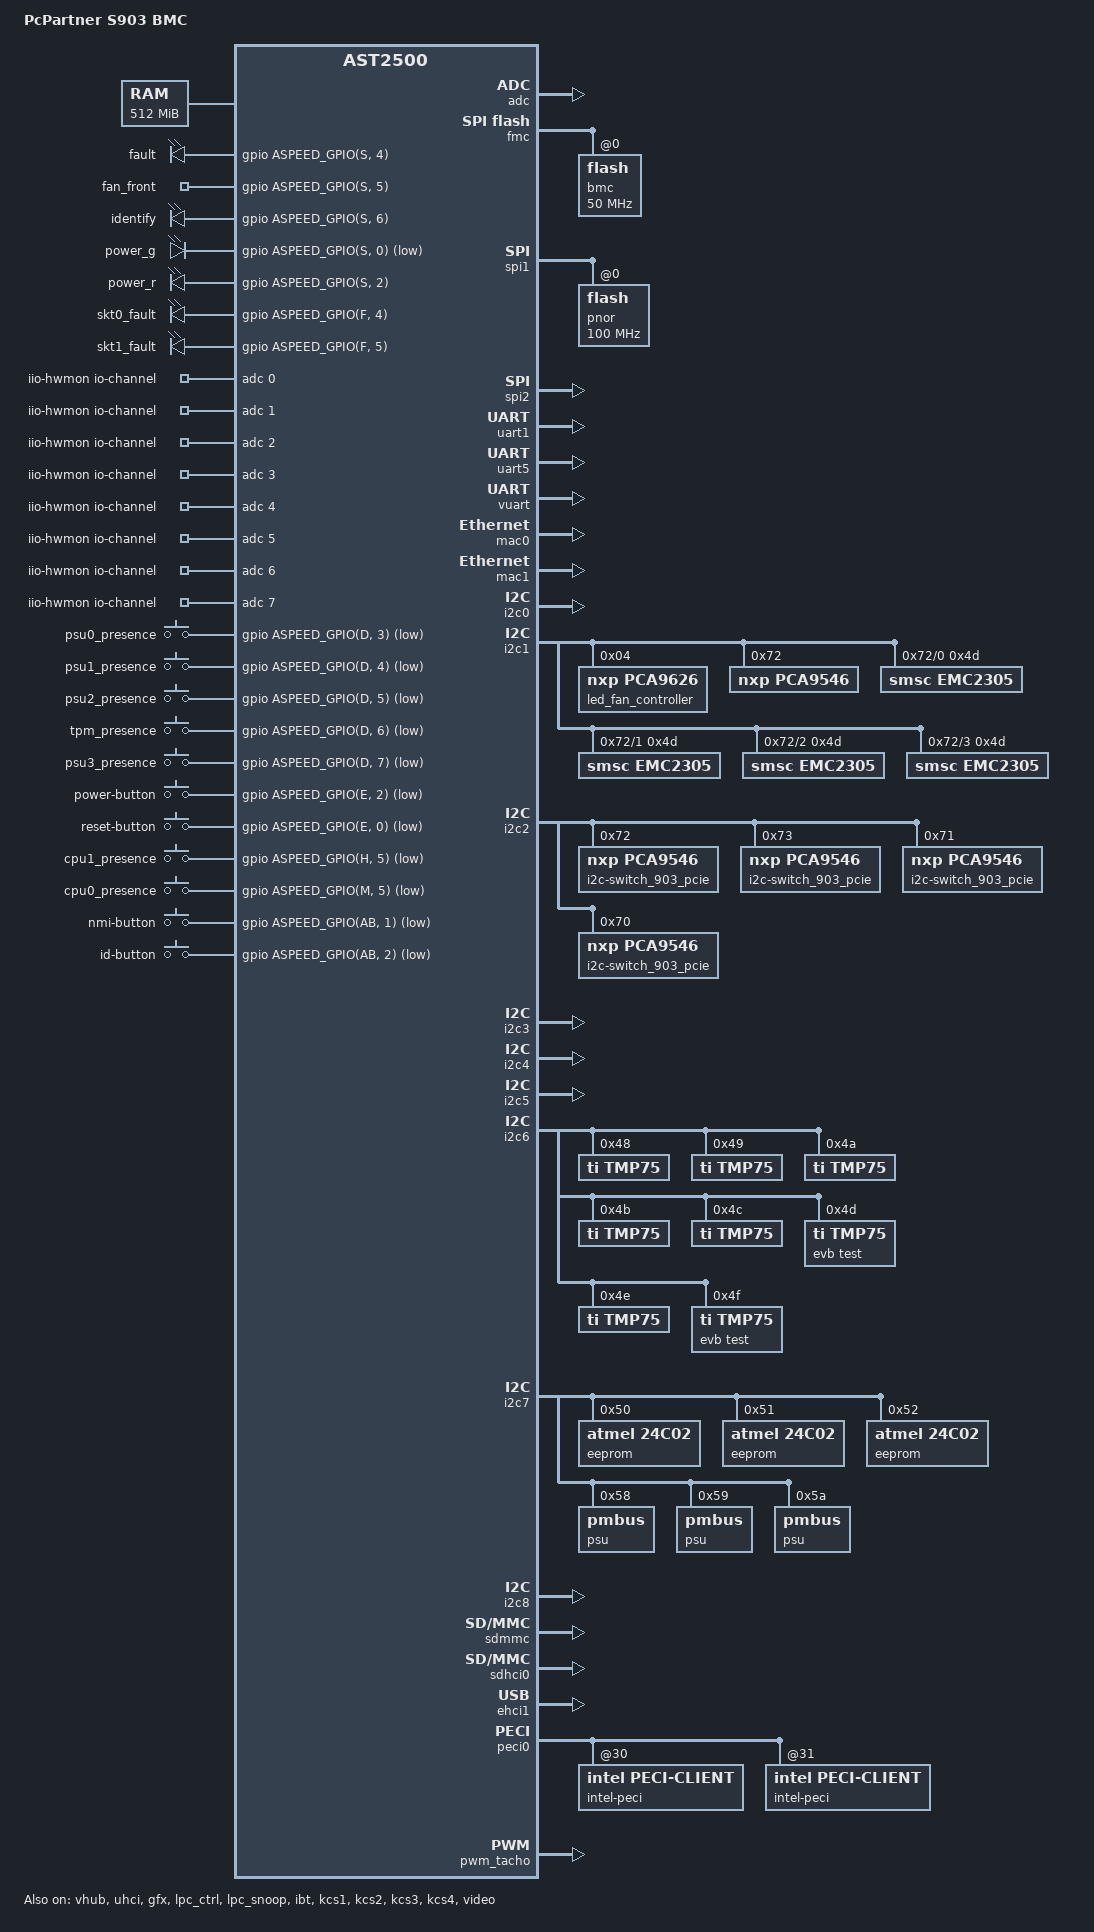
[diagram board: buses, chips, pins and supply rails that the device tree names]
// SPDX-License-Identifier: GPL-2.0+
/dts-v1/;

#include "aspeed-g5.dtsi"
#include <dt-bindings/gpio/aspeed-gpio.h>

/ {
	model = "PcPartner S903 BMC";
	compatible = "aspeed,ast2500";

	aliases {
		serial4 = &uart5;
		i2c100 = &bus1_mux0;
	};

	chosen {
		stdout-path = &uart5;
		bootargs = "console=tty0 console=ttyS4,115200 earlyprintk";
	};

	memory@80000000 {
		reg = <0x80000000 0x20000000>;
	};

	reserved-memory {
		#address-cells = <1>;
		#size-cells = <1>;
		ranges;

		gfx_memory: framebuffer {
			size = <0x01000000>;
			alignment = <0x01000000>;
			compatible = "shared-dma-pool";
			reusable;
		};

		video_engine_memory: jpegbuffer {
			size = <0x02000000>;	/* 32M */
			alignment = <0x01000000>;
			compatible = "shared-dma-pool";
			reusable;
		};
	};

	leds {
		compatible = "gpio-leds";

		fault {
			gpios = <&gpio ASPEED_GPIO(S, 4) GPIO_ACTIVE_HIGH>;
		};

		fan_front {
			gpios = <&gpio ASPEED_GPIO(S, 5) GPIO_ACTIVE_HIGH>;
		};

		identify {
			gpios = <&gpio ASPEED_GPIO(S, 6) GPIO_ACTIVE_HIGH>;
		};

		power_g {
			gpios = <&gpio ASPEED_GPIO(S, 0) GPIO_ACTIVE_LOW>;
		};

		power_r {
			gpios = <&gpio ASPEED_GPIO(S, 2) GPIO_ACTIVE_HIGH>;
		};

		skt0_fault {
			gpios = <&gpio ASPEED_GPIO(F, 4) GPIO_ACTIVE_HIGH>;
		};

		skt1_fault {
			gpios = <&gpio ASPEED_GPIO(F, 5) GPIO_ACTIVE_HIGH>;
		};
	};

	iio-hwmon {
		compatible = "iio-hwmon";
		io-channels = <&adc 0>, <&adc 1>, <&adc 2>, <&adc 3>, <&adc 4>,
			<&adc 5>, <&adc 6>, <&adc 7>, <&adc 8>, <&adc 9>,
			<&adc 10>, <&adc 11>, <&adc 12>, <&adc 13>, <&adc 14>, <&adc 15>;
	};

	gpio-keys {
		compatible = "gpio-keys";
		autorepeat;

		psu0_presence {
			label = "psu0_presence";
			gpios = <&gpio ASPEED_GPIO(D, 3) GPIO_ACTIVE_LOW>;
			linux,code = <ASPEED_GPIO(D, 3)>;
		};

		psu1_presence {
			label = "psu1_presence";
			gpios = <&gpio ASPEED_GPIO(D, 4) GPIO_ACTIVE_LOW>;
			linux,code = <ASPEED_GPIO(D, 4)>;
		};

		psu2_presence {
			label = "psu2_presence";
			gpios = <&gpio ASPEED_GPIO(D, 5) GPIO_ACTIVE_LOW>;
			linux,code = <ASPEED_GPIO(D, 5)>;
		};

		tpm_presence {
			label = "tpm_presence";
			gpios = <&gpio ASPEED_GPIO(D, 6) GPIO_ACTIVE_LOW>;
			linux,code = <ASPEED_GPIO(D, 6)>;
		};

		psu3_presence {
			label = "psu3_presence";
			gpios = <&gpio ASPEED_GPIO(D, 7) GPIO_ACTIVE_LOW>;
			linux,code = <ASPEED_GPIO(D, 7)>;
		};

		power-button {
			label = "power-button";
			gpios = <&gpio ASPEED_GPIO(E, 2) GPIO_ACTIVE_LOW>;
			linux,code = <ASPEED_GPIO(E, 2)>;
		};

		reset-button {
			label = "reset-button";
			gpios = <&gpio ASPEED_GPIO(E, 0) GPIO_ACTIVE_LOW>;
			linux,code = <ASPEED_GPIO(E, 0)>;
		};

		cpu1_presence {
			label = "cpu1_presence";
			gpios = <&gpio ASPEED_GPIO(H, 5) GPIO_ACTIVE_LOW>;
			linux,code = <ASPEED_GPIO(H, 5)>;
		};

		cpu0_presence {
			label = "cpu0_presence";
			gpios = <&gpio ASPEED_GPIO(M, 5) GPIO_ACTIVE_LOW>;
			linux,code = <ASPEED_GPIO(M, 5)>;
		};

		nmi-button {
			label = "nmi-button";
			gpios = <&gpio ASPEED_GPIO(AB, 1) GPIO_ACTIVE_LOW>;
			linux,code = <ASPEED_GPIO(AB, 1)>;
		};

		id-button {
			label = "id-button";
			gpios = <&gpio ASPEED_GPIO(AB, 2) GPIO_ACTIVE_LOW>;
			linux,code = <ASPEED_GPIO(AB, 2)>;
		};
	};
};

&adc {
	status = "okay";
};

&fmc {
	status = "okay";
	flash@0 {
		status = "okay";
		m25p,fast-read;
		label = "bmc";
		spi-max-frequency = <50000000>;
#include "openbmc-flash-layout.dtsi"
	};
};

&spi1 {
	status = "okay";
	flash@0 {
		status = "okay";
		m25p,fast-read;
		label = "pnor";
		spi-max-frequency = <100000000>;
	};
};

&spi2 {
	status = "okay";
};

&uart1 {
	/* Rear RS-232 connector */
	status = "okay";
	pinctrl-names = "default";
	pinctrl-0 = <&pinctrl_txd1_default
			&pinctrl_rxd1_default
			&pinctrl_nrts1_default
			&pinctrl_ndtr1_default
			&pinctrl_ndsr1_default
			&pinctrl_ncts1_default
			&pinctrl_ndcd1_default
			&pinctrl_nri1_default>;
};

&uart5 {
	status = "okay";
};

&vuart {
	status = "okay";
};

&mac0 {
	status = "okay";
	use-ncsi;
	pinctrl-names = "default";
	pinctrl-0 = <&pinctrl_rmii1_default>;
	clocks = <&syscon ASPEED_CLK_GATE_MAC1CLK>,
		 <&syscon ASPEED_CLK_MAC1RCLK>;
	clock-names = "MACCLK", "RCLK";
};

&mac1 {
	status = "okay";

	pinctrl-names = "default";
	pinctrl-0 = <&pinctrl_rgmii2_default &pinctrl_mdio2_default>;
};

&i2c0 {
	status = "okay";
};

&i2c1 {
	status = "okay";
/*
	emc2305@2c {
		compatible = "smsc,emc2305";
		reg = <0x2c>;
		#address-cells = <1>;
		#size-cells = <0>;
	};
	emc2305@2d {
		compatible = "smsc,emc2305";
		reg = <0x2d>;
		#address-cells = <1>;
		#size-cells = <0>;
	};
	emc2305@2e {
		compatible = "smsc,emc2305";
		reg = <0x2e>;
		#address-cells = <1>;
		#size-cells = <0>;
	};
	emc2305@2f {
		compatible = "smsc,emc2305";
		reg = <0x2f>;
		#address-cells = <1>;
		#size-cells = <0>;
	};
	emc2305@4c {
		compatible = "smsc,emc2305";
		reg = <0x4c>;
		#address-cells = <1>;
		#size-cells = <0>;
	};
	emc2305@4d {
		compatible = "smsc,emc2305";
		reg = <0x4d>;
		#address-cells = <1>;
		#size-cells = <0>;
	};
*/
	led_fan_controller: pca9626@4 {
		compatible = "nxp,pca9626";
		gpio-controller;
		#address-cells = <1>;
		#size-cells = <0>;
		reg = <0x4>;
		led_fan1@0 {
			reg = <0>;
		};
		led_fan2@1 {
			reg = <1>;
		};
		led_fan3@2 {
			reg = <2>;
		};
		led_fan4@3 {
			reg = <3>;
		};
		led_fan5@4 {
			reg = <4>;
		};
		led_fan6@5 {
			reg = <5>;
		};
		led_fan7@6 {
			reg = <6>;
		};
		led_fan8@7 {
			reg = <7>;
		};
		led_fan9@8 {
			reg = <8>;
		};
		led_fan10@9 {
			reg = <9>;
		};
		led_fan11@10 {
			reg = <10>;
		};
		led_fan12@11 {
			reg = <11>;
		};
		led_fan13@12 {
			reg = <12>;
		};
		led_fan14@13 {
			reg = <13>;
		};
		led_fan15@14 {
			reg = <14>;
		};
		led_fan16@15 {
			reg = <15>;
		};
		led_fan17@16 {
			reg = <16>;
		};
		led_fan18@17 {
			reg = <17>;
		};
		led_fan19@18 {
			reg = <18>;
		};
		led_fan20@19 {
			reg = <19>;
		};
		led_fan21@20 {
			reg = <20>;
		};
		led_fan22@21 {
			reg = <21>;
		};
		led_fan23@22 {
			reg = <22>;
		};
		led_fan24@23 {
			reg = <23>;
		};
	};
	pca9546@72 {
		compatible = "nxp,pca9546";
		reg = <0x72>;
		#address-cells = <1>;
		#size-cells = <0>;

		bus1_mux0: i2c@0 {
			#address-cells = <1>;
			#size-cells = <0>;
			reg = <0>;

			emc2305@4d {
				compatible = "smsc,emc2305";
				reg = <0x4d>;
				#address-cells = <1>;
				#size-cells = <0>;
			};
		};
		bus1_mux1: i2c@1 {
			#address-cells = <1>;
			#size-cells = <0>;
			reg = <1>;

			emc2305@4d {
				compatible = "smsc,emc2305";
				reg = <0x4d>;
				#address-cells = <1>;
				#size-cells = <0>;
			};
		};
		bus1_mux2: i2c@2 {
			#address-cells = <1>;
			#size-cells = <0>;
			reg = <2>;

			emc2305@4d {
				compatible = "smsc,emc2305";
				reg = <0x4d>;
				#address-cells = <1>;
				#size-cells = <0>;
			};
		};
		bus1_mux3: i2c@3 {
			#address-cells = <1>;
			#size-cells = <0>;
			reg = <3>;

			emc2305@4d {
				compatible = "smsc,emc2305";
				reg = <0x4d>;
				#address-cells = <1>;
				#size-cells = <0>;
			};
		};
	};
};

&i2c2 {
	status = "okay";

	i2c-switch_903_pcie@72 {
		compatible = "nxp,pca9546";
		reg = <0x72>;
		#address-cells = <1>;
		#size-cells = <0>;
		i2c-mux-idle-disconnect;
	};
	i2c-switch_903_pcie@73 {
		compatible = "nxp,pca9546";
		reg = <0x73>;
		#address-cells = <1>;
		#size-cells = <0>;
		i2c-mux-idle-disconnect;
	};
	i2c-switch_903_pcie@71 {
		compatible = "nxp,pca9546";
		reg = <0x71>;
		#address-cells = <1>;
		#size-cells = <0>;
		i2c-mux-idle-disconnect;
	};
	i2c-switch_903_pcie@70 {
		compatible = "nxp,pca9546";
		reg = <0x70>;
		#address-cells = <1>;
		#size-cells = <0>;
		i2c-mux-idle-disconnect;
	};
/*	i2c-switch_904_pcie@75 {
		compatible = "nxp,pca9848";
		reg = <0x75>;
		#address-cells = <1>;
		#size-cells = <0>;
		#i2c-mux-idle-disconnect;
	};
	i2c-switch_904_pcie@77 {
		compatible = "nxp,pca9848";
		reg = <0x77>;
		#address-cells = <1>;
		#size-cells = <0>;
		#i2c-mux-idle-disconnect;
	};
	i2c-switch_904_pcie@73 {
		compatible = "nxp,pca9848";
		reg = <0x73>;
		#address-cells = <1>;
		#size-cells = <0>;
		#i2c-mux-idle-disconnect;
	};
	i2c-switch_904_pcie@71 {
		compatible = "nxp,pca9848";
		reg = <0x71>;
		#address-cells = <1>;
		#size-cells = <0>;
		#i2c-mux-idle-disconnect;
	};*/
};

&i2c3 {
	status = "okay";
};

&i2c4 {
	status = "okay";
};

&i2c5 {
	status = "okay";
};

&i2c6 {
	status = "okay";

	tmp75@48 {
		compatible = "ti,tmp75";
		reg = <0x48>;
	};
	tmp75@49 {
		compatible = "ti,tmp75";
		reg = <0x49>;
	};
	tmp75@4a {
		compatible = "ti,tmp75";
		reg = <0x4a>;
	};
	tmp75@4b {
		compatible = "ti,tmp75";
		reg = <0x4b>;
	};
	tmp75@4c {
		compatible = "ti,tmp75";
		reg = <0x4c>;
	};
	tmp75@4d {
		label = "evb test";
		compatible = "ti,tmp75";
		reg = <0x4d>;
	};
	tmp75@4e {
		compatible = "ti,tmp75";
		reg = <0x4e>;
	};
	tmp75@4f {
		label = "evb test";
		compatible = "ti,tmp75";
		reg = <0x4f>;
	};
};

&i2c7 {
	status = "okay";

	eeprom@50 {
		compatible = "atmel,24c02";
		reg = <0x50>;
	};

	eeprom@51 {
		compatible = "atmel,24c02";
		reg = <0x51>;
	};

	eeprom@52 {
		compatible = "atmel,24c02";
		reg = <0x52>;
	};

/*	eeprom@53 {
		compatible = "atmel,24c02";
		reg = <0x53>;
	};*/
	
	psu@58 {
		compatible = "pmbus";
		reg = <0x58>;
	};
	psu@59 {
		compatible = "pmbus";
		reg = <0x59>;
	};
	psu@5a {
		compatible = "pmbus";
		reg = <0x5a>;
	};
/*	psu@5b {
		compatible = "pmbus";
		reg = <0x5b>;
	};*/
};

&i2c8 {
	status = "okay";
};

&sdmmc {
	status = "okay";
};

&sdhci0 {
	status = "okay";

	pinctrl-names = "default";
	pinctrl-0 = <&pinctrl_sd1_default>;
};

/*
 * Enable port A as device (via the virtual hub) and port B as
 * host by default on the eval board. This can be easily changed
 * by replacing the override below with &ehci0 { ... } to enable
 * host on both ports.
 */
&vhub {
	status = "okay";
};

&ehci1 {
	status = "okay";
};

&uhci {
	status = "okay";
};

&gfx {
     status = "okay";
     memory-region = <&gfx_memory>;
};

&peci0 {
	status = "okay";
	intel-peci@30 {
		compatible = "intel,peci-client";
		reg = <0x30>;
		peci-cputemp.0 {
			compatible = "intel,peci-cputemp";
		};
		peci-dimmtemp.0 {
			compatible = "intel,peci-dimmtemp";
		};
	};
	intel-peci@31 {
		compatible = "intel,peci-client";
		reg = <0x31>;
		peci-cputemp.1 {
			compatible = "intel,peci-cputemp";
		};
		peci-dimmtemp.1 {
			compatible = "intel,peci-dimmtemp";
		};
	};
};

&lpc_ctrl {
	status = "okay";
};

&lpc_snoop {
	status = "okay";
	snoop-ports = <0x80>;
};

&ibt {
	status = "okay";
};

&kcs1 {
	status = "okay";
	aspeed,lpc-io-reg = <0x60>;
};

&kcs2 {
	status = "okay";
	aspeed,lpc-io-reg = <0x62>;
};

&kcs3 {
	status = "okay";
	aspeed,lpc-io-reg = <0xCA2>;
};

&kcs4 {
	status = "okay";
	aspeed,lpc-io-reg = <0x97DE>;
};

&gpio {
	gpio-line-names =
	/*A0-A7*/	"","","","","","","rgmii_mac2_mdc","rgmii_mac2_mdio",
	/*B0-B7*/	"adr_complete","slp_sus","p3v3sb_dsw_en","","clk_48m_usb","lpc_smi","lpc_pme","",
	/*C0-C7*/	"","","","","","","","",
	/*D0-D7*/	"bmc_force_update","phyrst","spi_path_dir","psu0_presence","psu1_presence","psu2_presence","tpm_presence","psu3_presence",
	/*E0-E7*/	"reset-button","host_reset","power-button","host_power","","","","",
	/*F0-F7*/	"irq_bmc_pch_nmi","","adr_complete_dly","sys_throttle_lvc3","led_socket0_fault","led_socket1_fault","adr_smi_gpio","adr_trigger",
	/*G0-G7*/	"cpu_err2_lvt3","cpu_bmc_nsmi_caterr_lvt3","pch_bmc_thermtrip","","","","irq_nmi_event","rst_bmc_mic_mux",
	/*H0-H7*/	"cpu1_proc_id0","cpu1_proc_id1","cpu1_pkgid0","cpu1_pkgid1","cpu1_pkgid2","cpu1_presence","cpu1_thertrip_lvt3","",
	/*I0-I7*/	"","","","","","","","",
	/*J0-J7*/	"","","","","","","","",
	/*K0-K7*/	"smb_hsbp_stby_scl","smb_hsbp_stby_sda","smb_smlink0_stby_scl","smb_smlin0_stby_sda","smb_temp_stby_scl","smb_temp_stby_sda","smb_pmbus_stby_scl","smb_pmbus_stby_sda",
	/*L0-L7*/	"ncts1","ndcd1","ndsr1","nri1","ndtr1","ndts1","txd1","rxd1",
	/*M0-M7*/	"cpu0_proc_id0","cpu0_proc_id1","cpu0_pkgid0","cpu0_pkgid1","cpu0_pkgid2","cpu0_presence","cpu0_thermtrip_lvt3","cpu0_fivr_fault_lvt3",
	/*N0-N7*/	"","","","","","","","",
	/*O0-O7*/	"tach_sysfan1","tach_sysfan2","tach_sysfan3","tach_sysfan4","","","","",
	/*P0-P7*/	"","","","","","","","",
	/*Q0-Q7*/	"smb_pcie_stby_scl","smb_pcie_stby_sda","smb_host_stby_scl","smb_host_stby_sda","","","","",
	/*R0-R7*/	"","","","","","","","",
	/*S0-S7*/	"led_power_g","","led_power_r","irq_sml0_alert","led_fault","led_fan_front","led_identify","",
	/*T0-T7*/	"","","","","","","","",
	/*U0-U7*/	"","","","","","","","",
	/*V0-V7*/	"","","","","","","","",
	/*W0-W7*/	"","","","","","","","",
	/*X0-X7*/	"","","","","","","","",
	/*Y0-Y7*/	"slp_s3","slp_s4","pwreq","oncontrol","smb_ipmb_stby_scl","smb_ipmb_sda","smb_chas_stby_scl","smb_chas_stby_sda",
	/*Z0-Z7*/	"bmc_power_i","pwrgd_cpu_lvt3","bmc_power_o","irq_bmc_pch_sci","","","","",
	/*AA0-AA7*/	"mem_therm_event_cpu0_lvt3","irq_sml1_pmbus_alert","pvccin_cpu0_pwr_in_alert","pvccin_cpu1_pwr_in_alert","mem_therm_event_cpu1_lvt3","pch_bmc_throttle","irq_smi_active","bios_pch_bmc_post_cmplt",
	/*AB0-AB7*/	"bmc_initcpu","nmi-button","id-button","pwrok_psu_bmc","","","","",
	/*AC0-AC7*/	"lpc_ad0","lpc_ad1","lpc_ad2","lpc_ad3","lpc_clk","lpc_frame","lpc_serirq","lpc_rst";

	pin_gpio_e3 {
		gpios = <ASPEED_GPIO(E, 3) GPIO_ACTIVE_LOW>;
		output-low;
		line-name = "host_power";
	};
};

//put in all the aspeed fans
&pwm_tacho {
	status = "okay";
	pinctrl-names = "default";
	pinctrl-0 = <&pinctrl_pwm0_default &pinctrl_pwm1_default
		&pinctrl_pwm2_default &pinctrl_pwm3_default
		&pinctrl_pwm4_default &pinctrl_pwm5_default
		&pinctrl_pwm6_default &pinctrl_pwm7_default>;
	fan@0 {
		reg = <0x00>;
		label = "fan-ast2500-1";
		aspeed,fan-tach-ch = /bits/ 8 <0x00>;
	};

	fan@1 {
		reg = <0x00>;
		aspeed,fan-tach-ch = /bits/ 8 <0x01>;
	};

	fan@2 {
		reg = <0x01>;
		aspeed,fan-tach-ch = /bits/ 8 <0x02>;
	};

	fan@3 {
		reg = <0x01>;
		aspeed,fan-tach-ch = /bits/ 8 <0x03>;
	};

	fan@4 {
		reg = <0x02>;
		aspeed,fan-tach-ch = /bits/ 8 <0x04>;
	};

	fan@5 {
		reg = <0x02>;
		aspeed,fan-tach-ch = /bits/ 8 <0x05>;
	};

	fan@6 {
		reg = <0x03>;
		aspeed,fan-tach-ch = /bits/ 8 <0x06>;
	};

	fan@7 {
		reg = <0x03>;
		aspeed,fan-tach-ch = /bits/ 8 <0x07>;
	};

	fan@8 {
		reg = <0x04>;
		aspeed,fan-tach-ch = /bits/ 8 <0x08>;
	};

	fan@9 {
		reg = <0x04>;
		aspeed,fan-tach-ch = /bits/ 8 <0x09>;
	};

	fan@10 {
		reg = <0x05>;
		aspeed,fan-tach-ch = /bits/ 8 <0x0a>;
	};

	fan@11 {
		reg = <0x05>;
		aspeed,fan-tach-ch = /bits/ 8 <0x0b>;
	};

	fan@12 {
		reg = <0x06>;
		aspeed,fan-tach-ch = /bits/ 8 <0x0c>;
	};

	fan@13 {
		reg = <0x06>;
		aspeed,fan-tach-ch = /bits/ 8 <0x0d>;
	};

	fan@14 {
		reg = <0x07>;
		aspeed,fan-tach-ch = /bits/ 8 <0x0e>;
	};

	fan@15 {
		reg = <0x07>;
		aspeed,fan-tach-ch = /bits/ 8 <0x0f>;
	};
};

&video {
	status = "okay";
	memory-region = <&video_engine_memory>;
};
